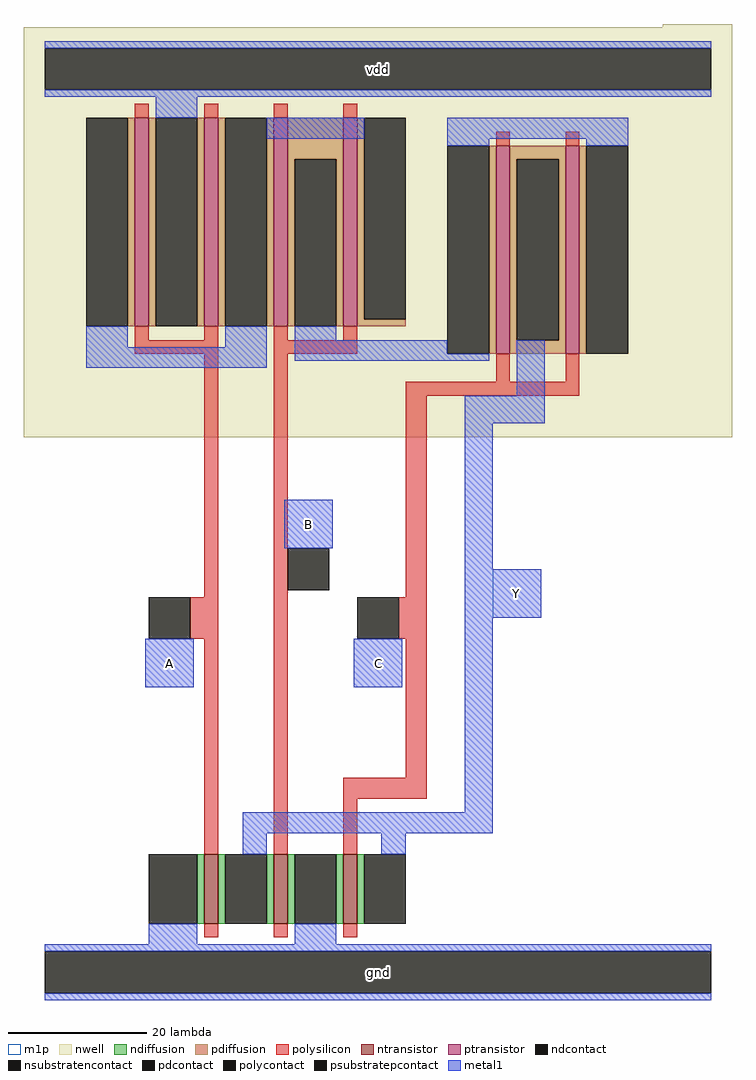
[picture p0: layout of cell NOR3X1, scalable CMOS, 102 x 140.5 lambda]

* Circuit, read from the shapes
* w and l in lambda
.subckt NOR3X1 A B C Y vdd gnd
M1 Y A gnd gnd nfet w=10 l=2
M2 gnd B Y gnd nfet w=10 l=2
M3 Y C gnd gnd nfet w=10 l=2
M4 vdd A n1 vdd pfet w=30 l=2 m=2
M5 n2 B n1 vdd pfet w=30 l=2 m=2
M6 Y C n2 vdd pfet w=30 l=2 m=2
.ends

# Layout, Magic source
magic
tech scmos
magscale 1 2
<< nwell >>
rect 172 272 192 273
rect -12 154 192 272
<< ntransistor >>
rect 40 14 44 34
rect 60 14 64 34
rect 80 14 84 34
<< ptransistor >>
rect 20 186 24 246
rect 40 186 44 246
rect 60 186 64 246
rect 80 186 84 246
rect 124 178 128 238
rect 144 178 148 238
<< ndiffusion >>
rect 38 14 40 34
rect 44 14 46 34
rect 58 14 60 34
rect 64 14 66 34
rect 78 14 80 34
rect 84 14 86 34
<< pdiffusion >>
rect 18 186 20 246
rect 24 186 26 246
rect 38 186 40 246
rect 44 186 46 246
rect 58 186 60 246
rect 64 234 80 246
rect 64 186 66 234
rect 78 186 80 234
rect 84 188 86 246
rect 84 186 98 188
rect 122 178 124 238
rect 128 234 144 238
rect 128 182 130 234
rect 142 182 144 234
rect 128 178 144 182
rect 148 178 150 238
<< ndcontact >>
rect 24 14 38 34
rect 46 14 58 34
rect 66 14 78 34
rect 86 14 98 34
<< pdcontact >>
rect 6 186 18 246
rect 26 186 38 246
rect 46 186 58 246
rect 66 186 78 234
rect 86 188 98 246
rect 110 178 122 238
rect 130 182 142 234
rect 150 178 162 238
<< psubstratepcontact >>
rect -6 -6 186 6
<< nsubstratencontact >>
rect -6 254 186 266
<< polysilicon >>
rect 20 246 24 250
rect 40 246 44 250
rect 60 246 64 250
rect 80 246 84 250
rect 124 238 128 242
rect 144 238 148 242
rect 20 182 24 186
rect 40 182 44 186
rect 20 178 44 182
rect 40 108 44 178
rect 36 96 44 108
rect 40 34 44 96
rect 60 182 64 186
rect 80 182 84 186
rect 60 178 84 182
rect 60 34 64 178
rect 124 170 128 178
rect 144 170 148 178
rect 98 166 148 170
rect 98 108 104 166
rect 96 96 104 108
rect 98 56 104 96
rect 80 50 104 56
rect 80 34 84 50
rect 40 10 44 14
rect 60 10 64 14
rect 80 10 84 14
<< polycontact >>
rect 24 96 36 108
rect 64 110 76 122
rect 84 96 96 108
<< metal1 >>
rect -6 266 186 268
rect -6 252 186 254
rect 26 246 38 252
rect 58 240 86 246
rect 6 180 18 186
rect 46 180 58 186
rect 6 174 58 180
rect 110 240 162 246
rect 110 238 122 240
rect 66 182 78 186
rect 66 178 110 182
rect 150 238 162 240
rect 66 176 122 178
rect 130 166 138 182
rect 115 158 138 166
rect 63 122 77 136
rect 115 116 123 158
rect 115 102 137 116
rect 23 82 37 96
rect 83 82 97 96
rect 115 46 123 102
rect 51 40 123 46
rect 51 34 58 40
rect 91 34 98 40
rect 24 8 38 14
rect 66 8 78 14
rect -6 6 186 8
rect -6 -8 186 -6
<< m1p >>
rect 63 122 77 136
rect 123 102 137 116
rect 23 82 37 96
rect 83 82 97 96
<< labels >>
rlabel metal1 63 122 77 136 0 B
port 1 nsew signal input
rlabel metal1 123 102 137 116 0 Y
port 3 nsew signal output
rlabel metal1 -6 252 186 268 0 vdd
port 4 nsew power bidirectional abutment
rlabel metal1 -6 -8 186 8 0 gnd
port 5 nsew ground bidirectional abutment
rlabel metal1 23 82 37 96 0 A
port 0 nsew signal input
rlabel metal1 83 82 97 96 0 C
port 2 nsew signal input
<< properties >>
string FIXED_BBOX 0 0 180 260
string LEFclass CORE
string LEFsite core
string LEFsymmetry X Y
<< end >>
